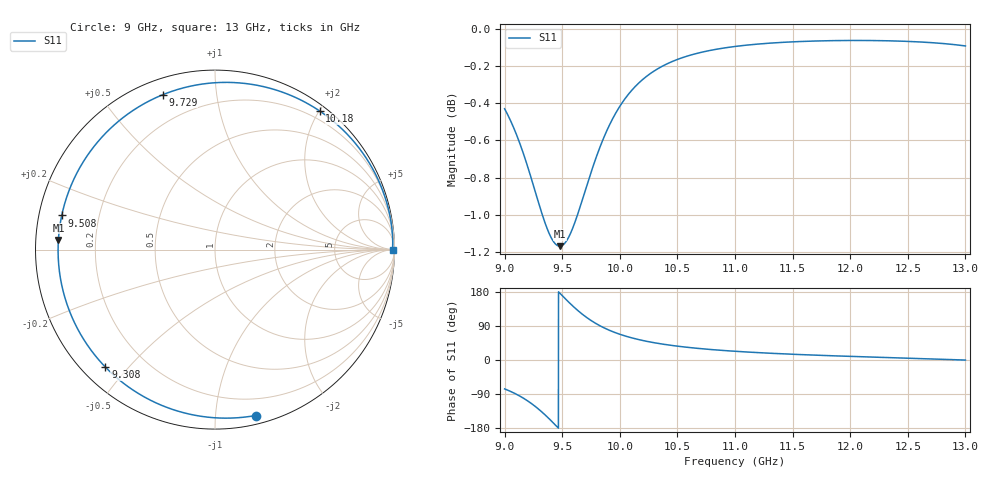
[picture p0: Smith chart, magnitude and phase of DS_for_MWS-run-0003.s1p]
! TOUCHSTONE file generated by CST DESIGN STUDIO
! Date and time: Tue Feb  4 18:28:22 2025
! Project name: C:\Work\MatlabApps\UnitCellOptimizationMatlab\CST\unitcell.cst
! Tree item: Tasks\Sweep1\SPara1\S-Parameters
! Header version: 2024
! Port assignment regex: !\s*Touchstone port\s*([0-9]+)\s*=\s*(CST MWS port|CST DES external port|CST DES block port)\s*(.+)\s* \(\"(.*)\"\)(\s*mode\s*([0-9]+))?.*
! Touchstone port assignment:
! Touchstone port 1 = CST DES external port 1 ("")
# GHz S MA R 50
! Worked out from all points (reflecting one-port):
!   4001 points, 9 GHz to 13 GHz, reference 50 ohm
!   lowest |S11| = -1.2 dB at 9.479 GHz (marker M1), VSWR 14.90, Z = 3.36 + j1.54 ohm
!   phase of S11 starts at -76 deg and turns -284 deg over the sweep
!   S11 on the Smith chart (normalised r, x): 9 GHz: 0.06, -1.27; 9.308 GHz: 0.07, -0.43; 9.508 GHz: 0.07, +0.11; 9.729 GHz: 0.07, +0.72; 10.18 GHz: 0.08, +2.00; 13 GHz: open
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9  0.9517 -76.3
9.077  0.9408 -86.5
9.175  0.9233 -103.0
9.244  0.9089 -117.4
9.308  0.8952 -133.0
9.352  0.8867 -145.0
9.4  0.8793 -159.1
9.44  0.8755 -171.4
9.479  0.8742 176.5
9.5  0.8746 169.9
9.508  0.8749 167.4
9.56  0.8795 151.7
9.621  0.8891 134.4
9.674  0.8994 121.0
9.729  0.9107 108.6
9.783  0.9213 98.0
9.843  0.9319 87.9
9.92  0.9435 77.1
10  0.9531 67.9
10.177  0.9677 53.0
10.324  0.9753 44.2
10.5  0.9811 36.5
10.722  0.9857 29.4
11  0.989 23.0
11.5  0.9918 15.2
12  0.9927 9.6
12.5  0.9921 4.8
13  0.9893 -0.1
